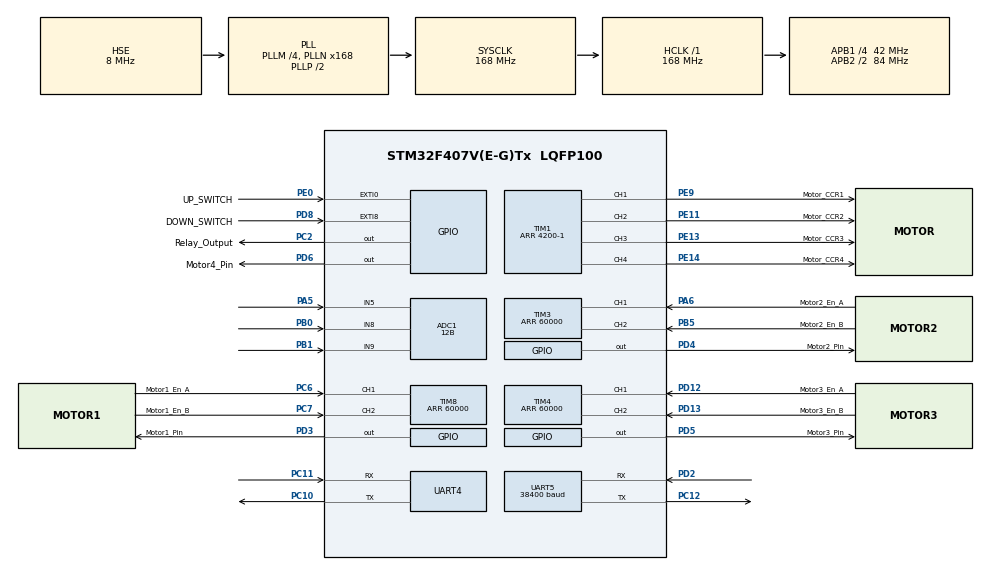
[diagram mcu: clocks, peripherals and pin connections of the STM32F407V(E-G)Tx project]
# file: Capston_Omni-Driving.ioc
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ADC1.Channel-53\#ChannelRegularConversion=ADC_CHANNEL_5
ADC1.Channel-54\#ChannelRegularConversion=ADC_CHANNEL_8
ADC1.Channel-55\#ChannelRegularConversion=ADC_CHANNEL_9
ADC1.ClockPrescaler=ADC_CLOCK_SYNC_PCLK_DIV4
ADC1.ContinuousConvMode=ENABLE
ADC1.DMAContinuousRequests=ENABLE
ADC1.DataAlign=ADC_DATAALIGN_RIGHT
ADC1.DiscontinuousConvMode=DISABLE
ADC1.EOCSelection=ADC_EOC_SEQ_CONV
ADC1.EnableAnalogWatchDog=false
ADC1.ExternalTrigConv=ADC_SOFTWARE_START
ADC1.ExternalTrigConvEdge=ADC_EXTERNALTRIGCONVEDGE_NONE
ADC1.InjNumberOfConversion=0
ADC1.NbrOfConversion=3
ADC1.NbrOfConversionFlag=1
ADC1.Rank-53\#ChannelRegularConversion=1
ADC1.Rank-54\#ChannelRegularConversion=2
ADC1.Rank-55\#ChannelRegularConversion=3
ADC1.Resolution=ADC_RESOLUTION_12B
ADC1.SamplingTime-53\#ChannelRegularConversion=ADC_SAMPLETIME_480CYCLES
ADC1.SamplingTime-54\#ChannelRegularConversion=ADC_SAMPLETIME_480CYCLES
ADC1.SamplingTime-55\#ChannelRegularConversion=ADC_SAMPLETIME_480CYCLES
ADC1.ScanConvMode=ENABLE
ADC1.master=1
Dma.ADC1.2.Direction=DMA_PERIPH_TO_MEMORY
Dma.ADC1.2.FIFOMode=DMA_FIFOMODE_DISABLE
Dma.ADC1.2.Instance=DMA2_Stream0
Dma.ADC1.2.MemDataAlignment=DMA_MDATAALIGN_WORD
Dma.ADC1.2.MemInc=DMA_MINC_ENABLE
Dma.ADC1.2.Mode=DMA_CIRCULAR
Dma.ADC1.2.PeriphDataAlignment=DMA_PDATAALIGN_WORD
Dma.ADC1.2.PeriphInc=DMA_PINC_DISABLE
Dma.ADC1.2.Priority=DMA_PRIORITY_LOW
Dma.Request0=UART5_RX
Dma.Request1=UART4_RX
Dma.Request2=ADC1
Dma.UART4_RX.1.Direction=DMA_PERIPH_TO_MEMORY
Dma.UART4_RX.1.FIFOMode=DMA_FIFOMODE_DISABLE
Dma.UART4_RX.1.Instance=DMA1_Stream2
Dma.UART4_RX.1.MemDataAlignment=DMA_MDATAALIGN_BYTE
Dma.UART4_RX.1.MemInc=DMA_MINC_ENABLE
Dma.UART4_RX.1.Mode=DMA_NORMAL
Dma.UART4_RX.1.PeriphDataAlignment=DMA_PDATAALIGN_BYTE
Dma.UART4_RX.1.PeriphInc=DMA_PINC_DISABLE
Dma.UART4_RX.1.Priority=DMA_PRIORITY_LOW
Dma.UART5_RX.0.Direction=DMA_PERIPH_TO_MEMORY
Dma.UART5_RX.0.FIFOMode=DMA_FIFOMODE_DISABLE
Dma.UART5_RX.0.Instance=DMA1_Stream0
Dma.UART5_RX.0.MemDataAlignment=DMA_MDATAALIGN_BYTE
Dma.UART5_RX.0.MemInc=DMA_MINC_ENABLE
Dma.UART5_RX.0.Mode=DMA_CIRCULAR
Dma.UART5_RX.0.PeriphDataAlignment=DMA_PDATAALIGN_BYTE
Dma.UART5_RX.0.PeriphInc=DMA_PINC_DISABLE
Dma.UART5_RX.0.Priority=DMA_PRIORITY_LOW
Mcu.Family=STM32F4
Mcu.Name=STM32F407V(E-G)Tx
Mcu.Package=LQFP100
NVIC.DMA1_Stream0_IRQn=true\:0\:0\:false\:false\:true\:false
NVIC.DMA1_Stream2_IRQn=true\:0\:0\:false\:false\:true\:false
NVIC.DMA2_Stream0_IRQn=true\:0\:0\:false\:false\:true\:false
NVIC.EXTI0_IRQn=true\:0\:0\:false\:false\:true\:true
NVIC.EXTI9_5_IRQn=true\:0\:0\:false\:false\:true\:true
NVIC.PriorityGroup=NVIC_PRIORITYGROUP_4
NVIC.TIM7_IRQn=true\:0\:0\:false\:false\:true\:true
PA13.Mode=JTAG_5_pins
PA13.Signal=SYS_JTMS-SWDIO
PA14.Mode=JTAG_5_pins
PA14.Signal=SYS_JTCK-SWCLK
PA15.Mode=JTAG_5_pins
PA15.Signal=SYS_JTDI
PA5.Signal=ADCx_IN5
PA6.GPIO_Label=Motor2_En_A
PA6.Signal=S_TIM3_CH1
PB0.Signal=ADCx_IN8
PB1.Signal=ADCx_IN9
PB3.Mode=JTAG_5_pins
PB3.Signal=SYS_JTDO-SWO
PB4.Mode=JTAG_5_pins
PB4.Signal=SYS_JTRST
PB5.GPIO_Label=Motor2_En_B
PB5.Signal=S_TIM3_CH2
PC10.Mode=Asynchronous
PC10.Signal=UART4_TX
PC11.Mode=Asynchronous
PC11.Signal=UART4_RX
PC12.Mode=Asynchronous
PC12.Signal=UART5_TX
PC2.GPIO_Label=Relay_Output
PC2.Signal=GPIO_Output
PC6.GPIO_Label=Motor1_En_A
PC6.Signal=S_TIM8_CH1
PC7.GPIO_Label=Motor1_En_B
PC7.Signal=S_TIM8_CH2
PD12.GPIO_Label=Motor3_En_A
PD12.Signal=S_TIM4_CH1
PD13.GPIO_Label=Motor3_En_B
PD13.Signal=S_TIM4_CH2
PD2.Mode=Asynchronous
PD2.Signal=UART5_RX
PD3.GPIO_Label=Motor1_Pin
PD3.Signal=GPIO_Output
PD4.GPIO_Label=Motor2_Pin
PD4.Signal=GPIO_Output
PD5.GPIO_Label=Motor3_Pin
PD5.Signal=GPIO_Output
PD6.GPIO_Label=Motor4_Pin
PD6.Signal=GPIO_Output
PD8.GPIO_Label=DOWN_SWITCH
PD8.GPIO_ModeDefaultEXTI=GPIO_MODE_IT_RISING_FALLING
PD8.Signal=GPXTI8
PE0.GPIO_Label=UP_SWITCH
PE0.GPIO_ModeDefaultEXTI=GPIO_MODE_IT_FALLING
PE0.Signal=GPXTI0
PE11.GPIO_Label=Motor_CCR2
PE11.Signal=S_TIM1_CH2
PE13.GPIO_Label=Motor_CCR3
PE13.Signal=S_TIM1_CH3
PE14.GPIO_Label=Motor_CCR4
PE14.Signal=S_TIM1_CH4
PE9.GPIO_Label=Motor_CCR1
PE9.Signal=S_TIM1_CH1
PH0-OSC_IN.Mode=HSE-External-Oscillator
PH0-OSC_IN.Signal=RCC_OSC_IN
PH1-OSC_OUT.Mode=HSE-External-Oscillator
PH1-OSC_OUT.Signal=RCC_OSC_OUT
ProjectManager.HeapSize=0x200
ProjectManager.StackSize=0x400
ProjectManager.TargetToolchain=EWARM
RCC.48MHZClocksFreq_Value=84000000
RCC.AHBFreq_Value=168000000
RCC.APB1CLKDivider=RCC_HCLK_DIV4
RCC.APB1Freq_Value=42000000
RCC.APB1TimFreq_Value=84000000
RCC.APB2CLKDivider=RCC_HCLK_DIV2
RCC.APB2Freq_Value=84000000
RCC.APB2TimFreq_Value=168000000
RCC.CortexFreq_Value=168000000
RCC.HCLKFreq_Value=168000000
RCC.HSE_VALUE=8000000
RCC.HSI_VALUE=16000000
RCC.LSE_VALUE=32768
RCC.PLLM=4
RCC.PLLN=168
RCC.PLLSourceVirtual=RCC_PLLSOURCE_HSE
RCC.SYSCLKFreq_VALUE=168000000
RCC.SYSCLKSource=RCC_SYSCLKSOURCE_PLLCLK
RCC.VCOOutputFreq_Value=336000000
SH.ADCx_IN5.0=ADC1_IN5,IN5
SH.ADCx_IN8.0=ADC1_IN8,IN8
SH.ADCx_IN9.0=ADC1_IN9,IN9
SH.S_TIM1_CH1.0=TIM1_CH1,PWM Generation1 CH1
SH.S_TIM1_CH2.0=TIM1_CH2,PWM Generation2 CH2
SH.S_TIM1_CH3.0=TIM1_CH3,PWM Generation3 CH3
SH.S_TIM1_CH4.0=TIM1_CH4,PWM Generation4 CH4
SH.S_TIM3_CH1.0=TIM3_CH1,Encoder_Interface
SH.S_TIM3_CH2.0=TIM3_CH2,Encoder_Interface
SH.S_TIM4_CH1.0=TIM4_CH1,Encoder_Interface
SH.S_TIM4_CH2.0=TIM4_CH2,Encoder_Interface
SH.S_TIM8_CH1.0=TIM8_CH1,Encoder_Interface
SH.S_TIM8_CH2.0=TIM8_CH2,Encoder_Interface
TIM1.Channel-PWM\ Generation1\ CH1=TIM_CHANNEL_1
TIM1.Channel-PWM\ Generation2\ CH2=TIM_CHANNEL_2
TIM1.Channel-PWM\ Generation3\ CH3=TIM_CHANNEL_3
TIM1.Channel-PWM\ Generation4\ CH4=TIM_CHANNEL_4
TIM1.Period=4200-1
TIM1.Pulse-PWM\ Generation1\ CH1=1
TIM1.Pulse-PWM\ Generation2\ CH2=2
TIM1.Pulse-PWM\ Generation3\ CH3=3
TIM1.Pulse-PWM\ Generation4\ CH4=4
TIM3.EncoderMode=TIM_ENCODERMODE_TI12
TIM3.Period=60000
TIM4.EncoderMode=TIM_ENCODERMODE_TI12
TIM4.Period=60000
TIM7.Period=50 - 1
TIM7.Prescaler=840 - 1
TIM8.EncoderMode=TIM_ENCODERMODE_TI12
TIM8.Period=60000
UART4.VirtualMode=Asynchronous
UART5.BaudRate=38400
UART5.VirtualMode=Asynchronous
VP_TIM7_VS_ClockSourceINT.Mode=Enable_Timer
board=Capston_Omni-Driving

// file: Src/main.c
/**
  ******************************************************************************
  * @file           : main.c
  * @brief          : Main program body
  ******************************************************************************
  ** This notice applies to any and all portions of this file
  * that are not between comment pairs USER CODE BEGIN and
  * USER CODE END. Other portions of this file, whether
  * inserted by the user or by software development tools
  * are owned by their respective copyright owners.
  *
  * COPYRIGHT(c) 2021 STMicroelectronics
  *
  * Redistribution and use in source and binary forms, with or without modification,
  * are permitted provided that the following conditions are met:
  *   1. Redistributions of source code must retain the above copyright notice,
  *      this list of conditions and the following disclaimer.
  *   2. Redistributions in binary form must reproduce the above copyright notice,
  *      this list of conditions and the following disclaimer in the documentation
  *      and/or other materials provided with the distribution.
  *   3. Neither the name of STMicroelectronics nor the names of its contributors
  *      may be used to endorse or promote products derived from this software
  *      without specific prior written permission.
  *
  * THIS SOFTWARE IS PROVIDED BY THE COPYRIGHT HOLDERS AND CONTRIBUTORS "AS IS"
  * AND ANY EXPRESS OR IMPLIED WARRANTIES, INCLUDING, BUT NOT LIMITED TO, THE
  * IMPLIED WARRANTIES OF MERCHANTABILITY AND FITNESS FOR A PARTICULAR PURPOSE ARE
  * DISCLAIMED. IN NO EVENT SHALL THE COPYRIGHT HOLDER OR CONTRIBUTORS BE LIABLE
  * FOR ANY DIRECT, INDIRECT, INCIDENTAL, SPECIAL, EXEMPLARY, OR CONSEQUENTIAL
  * DAMAGES (INCLUDING, BUT NOT LIMITED TO, PROCUREMENT OF SUBSTITUTE GOODS OR
  * SERVICES; LOSS OF USE, DATA, OR PROFITS; OR BUSINESS INTERRUPTION) HOWEVER
  * CAUSED AND ON ANY THEORY OF LIABILITY, WHETHER IN CONTRACT, STRICT LIABILITY,
  * OR TORT (INCLUDING NEGLIGENCE OR OTHERWISE) ARISING IN ANY WAY OUT OF THE USE
  * OF THIS SOFTWARE, EVEN IF ADVISED OF THE POSSIBILITY OF SUCH DAMAGE.
  *
  ******************************************************************************
  */
#include "main.h"
#include "stm32f4xx_hal.h"

/* USER CODE BEGIN Includes */
#include "stdbool.h"
#include "arm_math.h"
/* USER CODE END Includes */

ADC_HandleTypeDef hadc1;
DMA_HandleTypeDef hdma_adc1;

TIM_HandleTypeDef htim1;
TIM_HandleTypeDef htim3;
TIM_HandleTypeDef htim4;
TIM_HandleTypeDef htim7;
TIM_HandleTypeDef htim8;

UART_HandleTypeDef huart4;
UART_HandleTypeDef huart5;
DMA_HandleTypeDef hdma_uart4_rx;
DMA_HandleTypeDef hdma_uart5_rx;

/* USER CODE BEGIN PV */
/* Private variables ---------------------------------------------------------*/
// 일단 메트릭스 연산 제거하기!!!!
// ##################### Define #####################
//#define ARM_MATH_CM4
#define RX_BUF_SIZE             256
#define TX_BUF_SIZE             15

#define PULSE                       1404
#define PULSE_PER_RAD       0.0045

#define MAF_SIZE 10

// ##################### Basic Setup #####################
float32_t a2 = 2*PI/3, a3 = 4*PI/3; // angle gap between wheels
float32_t R = 0.400 , r = 0.0635;
float32_t theta = 0;

// ##################### Robot Parameter #####################
double La = 0.0023, Ra = 11.0, Ea = 0.1, J = 0.0043, B_m = 0.0019;
double Kt = 0.4307, Ke = 0.4307;

// ##################### Timer #####################
int cnt = 0, cnt2 = 0;

// ##################### Serial Comm #####################
uint8_t rx_dma_buffer[RX_BUF_SIZE];
uint8_t rx_buf[12];
//HAL_StatusTypeDef DMA_;
bool flag = false;

uint8_t tx_buf[TX_BUF_SIZE] = {0x00, 0x01, 0x02, 0x03, 0x04, 0x05, 0x06, 0x07, 0x08, 0x09, 0x0a, 0x0b, 0x0c, 0x0d, 0x0e};
uint8_t tx_buf_[TX_BUF_SIZE] = {0x00, 0x00, 0x00, 0x00, 0x00, 0x00, 0x00, 0x00, 0x00, 0x00, 0x00, 0x00, 0x00, 0x00, 0x00};

volatile unsigned char head_pos;
volatile unsigned char tail_pos = 255;
volatile unsigned char PacketMode;
volatile unsigned char checkSize;
uint8_t checkSum;

uint32_t Go_cnt = 0, Back_cnt = 0, Stop_cnt = 0;

// ##################### IMU  #####################
uint8_t imu_rx_buf[16];
uint8_t imu_tx_buf[1] = {'*'};
uint16_t imu_Chk = 0, Chk = 0;

volatile double Roll_d, Pitch_d, Yaw_d;
int16_t Roll, Pitch, Yaw, vel_x, vel_y, vel_z;

// ##################### Motor Setup #####################
uint16_t Motor_CCR[4], CCR_pre[4];
int32_t En_cnt_cur[3],  En_cnt_pre[3], En_cnt_dif[3];
double w[3];
double dt = 0.005;

//##################### PI Speed Controller Setup  #####################
int16_t overflow = 0;

double target_[3] = {0.0, 0.0, 0.0};
double err_cur[3] = {0, 0, 0}, err_pre[3] = {0, 0, 0}, err_dif[3] = {0, 0, 0}, err_sum[3] = {0, 0, 0} ;

// Matlab Params
uint16_t Wcs = 2000;
//double Kps = 19.9675, Kis = 0.0441; //Kis = 4.4114  * dt(0.005)                               //Kps = (J*Wcs)/Kt, Kis = Kps*(B_m/J)
double Kps[3] = {20.0, 20.0, 20.0}, Kis[3] = {0.0002, 0.0002, 0.0002}; //Kis = 0.00005

int16_t j_target_[3], j_w_[3], direc[3] = {1, 1, 1}; // j = jscope

//##################### Limit Switch Setup #####################
bool up_exti_flag = true, down_exti_flag = false;
uint16_t Elevation_mode = 0, Elevation_mode_ = 0;                                             // 0 : Stop, 1 : Up , 2 : Down
int16_t Elevation_CCR;

uint16_t up_exti_cnt = 0, down_exti_cnt = 0;
uint16_t ele_direc = 0;

uint32_t elevation_cnt = 0, Rise_cnt = 0, Fall_cnt = 0 ;
bool Rise_bool = false, Fall_bool = false;

int ele_motor_dir_check=0;

//##################### PI Current Cointroll#####################
uint32_t Current_ADC[3] = {0,0,0};
uint16_t Wcc = 200;

double Voltage_to_Current[3] = {0.0, };
int Current_ADC_Jscope1;
int Current_ADC_Jscope2;
int Current_ADC_Jscope3;

//double Kpc = 0.4660, Kic = 1.1, Ka = 1.4306; //Kic = Ki * dt(0.0005)
// Kpc[3] = {0.22 , 0.22, 0.22}, Kic[3] = {0.02, 0.02, 0.02}, Ka = 1.4306; //Kic = 0.001 //2차 : Kpc = 0.3 Kic = 0.02
double Kpc[3] = {0.01 , 0.22, 0.3}, Kic[3] = {0.105, 0.02, 0.15}, Ka = 1.4306;
double I_ref[3] = {0.0, 0.0, 0.0};
double I_err_cur[3] = {0.0, }, I_err_pre[3] = {0.0, }, I_err_sum[3] = {0.0, }, I_err_a[3]= {0.0, };
double Motor_volt[3] = {0.0, }, Motor_volt_cur[3] = {0.0, };
double Volt_max = 12.0, Volt_min = -12.0, I_min = -2.5, I_max = 2.5;

//##################### MAF #####################

int rawData[3][MAF_SIZE] = {0, };
double SUM_Data[3] = {0.0, };
double MAF_Data[3] = {0.0, };
int MAF_cnt[3] = {0, };

/* USER CODE END PV */

void SystemClock_Config(void);
static void MX_GPIO_Init(void);
static void MX_DMA_Init(void);
static void MX_TIM3_Init(void);
static void MX_TIM4_Init(void);
static void MX_TIM7_Init(void);
static void MX_TIM1_Init(void);
static void MX_UART5_Init(void);
static void MX_UART4_Init(void);
static void MX_TIM8_Init(void);
static void MX_ADC1_Init(void);

void HAL_TIM_MspPostInit(TIM_HandleTypeDef *htim);

/* USER CODE BEGIN PFP */
/* Private function prototypes -----------------------------------------------*/

void Uart_rx_dma_handler();
void IMU_Parsing();
double CalcMAF(int data, int n);

void Jscope_Callback();
void Get_Motor_Speed();
void SpeedCtrl();
void CurrentCtrl();
void Motor_ON();

void Elevation();
void Elevation_Cnt();

void up_elevation();
void down_elevation();
void stop_elevation();

void Elevation_Mode(uint16_t mode);
void Go_Straight_Test();

/* USER CODE END PFP */

/* USER CODE BEGIN 0 */

/* ############# Todo List #############
 *
 *
 */

/* ############ Motor Control ############
 *
 * CCR1 ~ 3        : Three whelel  controlling Mootr_CCR of Omni direction robot
 * CCR4              : The Motor_CCR of elevation
 * En_cnt1 ~ 3     : The Encoder Sensor Count of Motor 1 ~ 3
 *
 * Encoder Diff(OverFlow)
 *              It must be Positive Value
 *              if Encoder Count Overflow, Minus 60000 and Multiply -1.
 *
 */

/* ############ Motor Control ############
 *
 *      Currnet Control(PI) : 0.5ms(2000Hz)
 *      Speed Control(PI)   : 5ms(200Hz)
 *
 */

/* ############ Timer OverFLow ############
 *
 *      OverFlow                                 : 0.5ms(2000Hz)
 *      10-count Timer OverFLow         : 5ms(200Hz)
 *
 */

void HAL_TIM_PeriodElapsedCallback(TIM_HandleTypeDef *htim){
  if(htim == &htim7){                   //2000Hz(0.5ms)
    cnt++;

    Uart_rx_dma_handler();

    Get_Motor_Speed();

    //PI Currrent Controll
    CurrentCtrl();

    if(cnt == 10){                         //200Hz(5ms)
      cnt = 0;

      Elevation_Mode(Elevation_mode);
      Elevation_Cnt();

      // PI Speed Controll(With Anti-Windup)
      SpeedCtrl();

    }

    // Motor Direc & CCR To Move
    Motor_ON();

    // For Data Visualization With Jscope
    Jscope_Callback();
  }
}

// ########## EXTI Callback For Limit Swtich ##########

void HAL_GPIO_EXTI_Callback(uint16_t GPIO_Pin){

  if(GPIO_Pin == GPIO_PIN_0){
    up_exti_flag = false;
    down_exti_flag = true;

    HAL_GPIO_WritePin(GPIOC, GPIO_PIN_2, GPIO_PIN_SET);
    up_exti_cnt++;

  }

  else if(GPIO_Pin == GPIO_PIN_8){
    down_exti_flag = false;
    down_exti_cnt++;

    HAL_GPIO_WritePin(GPIOC, GPIO_PIN_2, GPIO_PIN_RESET);

  }

}

/* ###################################
 * UART Communication Protocol ( 10 Bit ( Hex data ) )
 *
 * Start Bit                      : 0xFF                     >>  0, 1

 * Sign Bit                                                    >>  2, 4, 6
                                        + : 0x01
                                        - : 0x00

 * Data Bit                     : One Bit                  >>  3, 5, 7

 * Elevation Mode bit      : One Bit                  >>  8
                                        0 : Stop
                                        1 : Up
                                        2 : Down

 * End Bit                      : CheckSum[2 ~ 8]  >>  9

 * CCR = RAD_PER_PULSE
 * ###################################
 */

void Uart_rx_dma_handler(){
  head_pos = huart5.RxXferSize - huart5.hdmarx->Instance->NDTR -1;
  while(tail_pos != head_pos) {
    switch (PacketMode) {
      case 0:

        if (rx_dma_buffer[tail_pos] == 0xFF) {         //Header check
          rx_buf[checkSize++] = rx_dma_buffer[tail_pos];
          if(checkSize == 2){
            PacketMode = 1;
          }
        }
        else{
          checkSize = 0;
        }
        break;

    case 1:

      rx_buf[checkSize++] = rx_dma_buffer[tail_pos];

      if(checkSize == 10){

        for(int i = 2 ; i < 9 ; i++)
          checkSum += rx_buf[i];

        if(rx_buf[9] == checkSum){

          // Go forward : 1
          if(rx_buf[8] == 1)
              Elevation_mode = (uint16_t)rx_buf[8];
          else{
            direc[0] = rx_buf[2];
            direc[1] = rx_buf[4];
            direc[2] = rx_buf[6];

            target_[0] = (double)rx_buf[3] / 10.0;
            target_[1] = (double)rx_buf[5] / 10.0;
            target_[2] = (double)rx_buf[7] / 10.0;
          }

          flag = true;
        }

        else{
          flag = false;

          target_[0] = 0.0;
          target_[1] = 0.0;
          target_[2] = 0.0;

          Elevation_mode = 0;
        }

        checkSum =  0;
        checkSize = 0;
        PacketMode = 0;
      }

      else if(checkSize > 9){
        checkSum =  0;
        checkSize = 0;
        PacketMode = 0;
      }

    }

    tail_pos++;
  }
}

double CalcMAF(int data, int n){
  MAF_cnt[n] = (MAF_cnt[n] + 1)%MAF_SIZE;
  rawData[n][MAF_cnt[n]] = data;
  SUM_Data[n] = 0;

  for(int i = 0; i < MAF_SIZE; i++){
    SUM_Data[n] += rawData[n][i];
   }

  MAF_Data[n] = SUM_Data[n]/MAF_SIZE;

  return MAF_Data[n];
}

void Get_Motor_Speed(){

  // Encoder Pulse of  Each Motors
  En_cnt_cur[0] = TIM8 -> CNT;
  En_cnt_cur[1] = TIM3 -> CNT;
  En_cnt_cur[2] = TIM4 -> CNT;

  for(int j = 0 ; j < 3 ; j++){

    // Encoder Pulse count for Positive Value
    if(direc[j] == 1){
      En_cnt_dif[j] =     ( En_cnt_cur[j] - En_cnt_pre[j] );
    }
    else{
      En_cnt_dif[j] =  - ( En_cnt_cur[j] - En_cnt_pre[j] );
    }

    // Encoder OverFlow
    if(En_cnt_dif[j] > 50000){
      En_cnt_dif[j] = - ( En_cnt_dif[j] - 60000 );
    }

    // Motor Speed(w) for Each Motors
    w[j] = ( En_cnt_dif[j] * 0.0748);

    // Keep Encoder ount for calculate speed
    En_cnt_pre[j] = En_cnt_cur[j];
  }

}

void Motor_ON(){
  if(direc[0] == 1){
     HAL_GPIO_WritePin(GPIOD, GPIO_PIN_3, GPIO_PIN_RESET);
  }
  else if(direc[0] == 0){
    HAL_GPIO_WritePin(GPIOD, GPIO_PIN_3, GPIO_PIN_SET);
  }

  if(direc[1] == 1){
    HAL_GPIO_WritePin(GPIOD, GPIO_PIN_4, GPIO_PIN_RESET);
  }
  else if(direc[1] == 0){
    HAL_GPIO_WritePin(GPIOD, GPIO_PIN_4, GPIO_PIN_SET);
  }

  if(direc[2] == 1){
    HAL_GPIO_WritePin(GPIOD, GPIO_PIN_5, GPIO_PIN_RESET);
  }
  else if(direc[2] == 0){
    HAL_GPIO_WritePin(GPIOD, GPIO_PIN_5, GPIO_PIN_SET);
  }

  for(int i = 0 ; i < 3 ; i++){

    if(target_[i] == 0){
      Motor_CCR[i] = 0;
      I_err_sum[i] = 0;
    }

  }
  TIM1 -> CCR1 = Motor_CCR[0];
  TIM1 -> CCR2 = Motor_CCR[1];
  TIM1 -> CCR3 = Motor_CCR[2];
}
/*
 * Direc : 1 = Current ++
 * Direc : 0 = Current --
 *
 */
void CurrentCtrl(){

  for(int i = 0 ; i < 3 ; i++){
    // Get Current Value By ADC
    Voltage_to_Current[i] =   -(( CalcMAF(Current_ADC[i], i )/ 4096. ) * 3.3 - 2.46 ) * 10.0;

    // Calculate Current Error for PI Controll
    I_err_cur[i]    = I_ref[i] - Voltage_to_Current[i];
    I_err_sum[i] += I_err_cur[i];

    // PI Controll for Motor Voltage(With AntiWindup)
    Motor_volt[i] = (Kpc[i] * I_err_cur[i]) + (Kic[i] * I_err_sum[i]);

    // Anti Windup
    //##############################################

    if(Motor_volt[i] > Volt_max){
      I_err_sum[i] -= ( Motor_volt[i] - Volt_max ) / Kpc[i] / 3.0;
      Motor_volt[i] = Volt_max;
    }

    //##############################################
    //##############################################

    else if(Motor_volt[i] < Volt_min){
      I_err_sum[i] -= ( Motor_volt[i] - Volt_min) / Kpc[i] / 3.0;
      Motor_volt[i] = Volt_min;
    }

    //##############################################
    //##############################################

    Motor_CCR[i] = (Motor_volt[i] / 12.0) * 2100.0 + 2100.0;
  }

}

void SpeedCtrl(){

  //Get_Motor_Speed();

  for(int i = 0 ; i < 3 ; i++){
    err_cur[i]     = target_[i] - w[i];
    err_sum[i]  += err_cur[i];

    I_ref[i] = (Kps[i] * err_cur[i]) + (Kis[i] * err_sum[i]);

    if(I_ref[i] > I_max){
      err_sum[i] -= ( I_ref[i] - I_max ) / Kps[i] / 3.0;
      I_ref[i] = I_max;
    }

    else if(I_ref[i] < I_min){
      err_sum[i] -= ( I_ref[i] - I_min) / Kps[i] / 3.0;
      I_ref[i] = I_min;
    }

  }
}

void Jscope_Callback(){
  for(int i = 0 ; i < 3 ; i++){
    j_target_[i] = target_[i] * 100;
    j_w_[i] = w[i] * 100;
  }
}

void up_elevation(){
  HAL_GPIO_WritePin(GPIOD, GPIO_PIN_6, GPIO_PIN_SET);
  TIM1 -> CCR4 = 3000;
  Elevation_CCR = 3000;
  ele_motor_dir_check=1;
  // CCW
}
void down_elevation(){
  HAL_GPIO_WritePin(GPIOD, GPIO_PIN_6, GPIO_PIN_RESET);
  TIM1 -> CCR4 = 3000;
  ele_motor_dir_check=0;
  Elevation_CCR = -4200;
  // CW
}
void stop_elevation(){
  HAL_GPIO_WritePin(GPIOD, GPIO_PIN_6, GPIO_PIN_RESET);
  TIM1 -> CCR4 = 0;
  Elevation_CCR = 0;
}

void Elevation(){
  if(Elevation_mode == 1 && up_exti_flag){
    up_elevation();
  }
  else  if(Elevation_mode_ == 2 && down_exti_flag){
    down_elevation();
  }
  else{
    stop_elevation();
  }
}
void Elevation_Cnt(){
  if(down_exti_flag){
    elevation_cnt++;
    if(elevation_cnt == 4000){
      Elevation_mode_ = 2;
    }
  }
}

void Elevation_Mode(uint16_t mode){
  if(mode == 1){
    Go_cnt++;
    if(Go_cnt >= 1400){
      Stop_cnt++;
      target_[0] = target_[1] = target_[2] = 0;
      Elevation();

      if(Elevation_mode_ == 2 && !down_exti_flag){
        Back_cnt++;

        if(Back_cnt >= 1400){
          target_[0] = target_[1] = target_[2] = 0;
        }

        else{
          target_[0] = 4.7;
          target_[2] = 4.0;
          direc[0] = 1;
          direc[2] = 0;
        }

      }

    }
    else{
      target_[0] = 4.0;
      target_[2] = 4.9;
      direc[0] = 0;
      direc[2] = 1;
    }
  }
}

void Go_Straight_Test(){
  Go_cnt++;
  if(Go_cnt >= 2000){
    Stop_cnt++;

    if(Stop_cnt >= 1000){
      Back_cnt++;

      if(Back_cnt >= 2000){
        target_[0] = target_[1] = target_[2] = 0;
      }

      else{
        target_[0] = target_[2] = 4.0;
        direc[0] = 1;
        direc[2] = 0;
      }

    }

    else{
      target_[0] = target_[1] = target_[2] = 0;
    }

  }
  else{
    target_[0] = target_[2] = 4.0;
    direc[0] = 0;
    direc[2] = 1;
  }
}

/* USER CODE END 0 */

int main(void)
{

  /* MCU Configuration----------------------------------------------------------*/

  /* Reset of all peripherals, Initializes the Flash interface and the Systick. */
  HAL_Init();

  /* Configure the system clock */
  SystemClock_Config();

  /* Initialize all configured peripherals */
  MX_GPIO_Init();
  MX_DMA_Init();
  MX_TIM3_Init();
  MX_TIM4_Init();
  MX_TIM7_Init();
  MX_TIM1_Init();
  MX_UART5_Init();
  MX_UART4_Init();
  MX_TIM8_Init();
  MX_ADC1_Init();
  /* USER CODE BEGIN 2 */

  HAL_TIM_Base_Start_IT(&htim7);

  HAL_UART_Receive_DMA(&huart5, rx_dma_buffer, RX_BUF_SIZE);

  HAL_TIM_PWM_Start(&htim1, TIM_CHANNEL_1);
  HAL_TIM_PWM_Start(&htim1, TIM_CHANNEL_2);
  HAL_TIM_PWM_Start(&htim1, TIM_CHANNEL_3);
  HAL_TIM_PWM_Start(&htim1, TIM_CHANNEL_4);

  HAL_TIMEx_PWMN_Start(&htim1, TIM_CHANNEL_1);
  HAL_TIMEx_PWMN_Start(&htim1, TIM_CHANNEL_2);
  HAL_TIMEx_PWMN_Start(&htim1, TIM_CHANNEL_3);
  HAL_TIMEx_PWMN_Start(&htim1, TIM_CHANNEL_4);

  HAL_TIM_Encoder_Start(&htim3, TIM_CHANNEL_ALL);
  HAL_TIM_Encoder_Start(&htim4, TIM_CHANNEL_ALL);
  HAL_TIM_Encoder_Start(&htim8, TIM_CHANNEL_ALL);

  HAL_ADC_Start_DMA(&hadc1, Current_ADC, 3);

  HAL_GPIO_WritePin(GPIOC, GPIO_PIN_2, GPIO_PIN_RESET);

  /* USER CODE END 2 */

  /* Infinite loop */
  while (1)
  {

  }

}

void SystemClock_Config(void)
{

  RCC_OscInitTypeDef RCC_OscInitStruct;
  RCC_ClkInitTypeDef RCC_ClkInitStruct;

    /**Configure the main internal regulator output voltage
    */
  __HAL_RCC_PWR_CLK_ENABLE();

  __HAL_PWR_VOLTAGESCALING_CONFIG(PWR_REGULATOR_VOLTAGE_SCALE1);

    /**Initializes the CPU, AHB and APB busses clocks
    */
  RCC_OscInitStruct.OscillatorType = RCC_OSCILLATORTYPE_HSE;
  RCC_OscInitStruct.HSEState = RCC_HSE_ON;
  RCC_OscInitStruct.PLL.PLLState = RCC_PLL_ON;
  RCC_OscInitStruct.PLL.PLLSource = RCC_PLLSOURCE_HSE;
  RCC_OscInitStruct.PLL.PLLM = 4;
  RCC_OscInitStruct.PLL.PLLN = 168;
  RCC_OscInitStruct.PLL.PLLP = RCC_PLLP_DIV2;
  RCC_OscInitStruct.PLL.PLLQ = 4;
  if (HAL_RCC_OscConfig(&RCC_OscInitStruct) != HAL_OK)
  {
    _Error_Handler(__FILE__, __LINE__);
  }

    /**Initializes the CPU, AHB and APB busses clocks
    */
  RCC_ClkInitStruct.ClockType = RCC_CLOCKTYPE_HCLK|RCC_CLOCKTYPE_SYSCLK
                              |RCC_CLOCKTYPE_PCLK1|RCC_CLOCKTYPE_PCLK2;
  RCC_ClkInitStruct.SYSCLKSource = RCC_SYSCLKSOURCE_PLLCLK;
  RCC_ClkInitStruct.AHBCLKDivider = RCC_SYSCLK_DIV1;
  RCC_ClkInitStruct.APB1CLKDivider = RCC_HCLK_DIV4;
  RCC_ClkInitStruct.APB2CLKDivider = RCC_HCLK_DIV2;

  if (HAL_RCC_ClockConfig(&RCC_ClkInitStruct, FLASH_LATENCY_5) != HAL_OK)
  {
    _Error_Handler(__FILE__, __LINE__);
  }

    /**Configure the Systick interrupt time
    */
  HAL_SYSTICK_Config(HAL_RCC_GetHCLKFreq()/1000);

    /**Configure the Systick
    */
  HAL_SYSTICK_CLKSourceConfig(SYSTICK_CLKSOURCE_HCLK);

  /* SysTick_IRQn interrupt configuration */
  HAL_NVIC_SetPriority(SysTick_IRQn, 0, 0);
}

/* ADC1 init function */
static void MX_ADC1_Init(void)
{

  ADC_ChannelConfTypeDef sConfig;

    /**Configure the global features of the ADC (Clock, Resolution, Data Alignment and number of conversion)
    */
  hadc1.Instance = ADC1;
  hadc1.Init.ClockPrescaler = ADC_CLOCK_SYNC_PCLK_DIV4;
  hadc1.Init.Resolution = ADC_RESOLUTION_12B;
  hadc1.Init.ScanConvMode = ENABLE;
  hadc1.Init.ContinuousConvMode = ENABLE;
  hadc1.Init.DiscontinuousConvMode = DISABLE;
  hadc1.Init.ExternalTrigConvEdge = ADC_EXTERNALTRIGCONVEDGE_NONE;
  hadc1.Init.ExternalTrigConv = ADC_SOFTWARE_START;
  hadc1.Init.DataAlign = ADC_DATAALIGN_RIGHT;
  hadc1.Init.NbrOfConversion = 3;
  hadc1.Init.DMAContinuousRequests = ENABLE;
  hadc1.Init.EOCSelection = ADC_EOC_SEQ_CONV;
  if (HAL_ADC_Init(&hadc1) != HAL_OK)
  {
    _Error_Handler(__FILE__, __LINE__);
  }

    /**Configure for the selected ADC regular channel its corresponding rank in the sequencer and its sample time.
    */
  sConfig.Channel = ADC_CHANNEL_5;
  sConfig.Rank = 1;
  sConfig.SamplingTime = ADC_SAMPLETIME_480CYCLES;
  if (HAL_ADC_ConfigChannel(&hadc1, &sConfig) != HAL_OK)
  {
    _Error_Handler(__FILE__, __LINE__);
  }

    /**Configure for the selected ADC regular channel its corresponding rank in the sequencer and its sample time.
    */
  sConfig.Channel = ADC_CHANNEL_8;
  sConfig.Rank = 2;
  if (HAL_ADC_ConfigChannel(&hadc1, &sConfig) != HAL_OK)
  {
    _Error_Handler(__FILE__, __LINE__);
  }

    /**Configure for the selected ADC regular channel its corresponding rank in the sequencer and its sample time.
    */
  sConfig.Channel = ADC_CHANNEL_9;
  sConfig.Rank = 3;
  if (HAL_ADC_ConfigChannel(&hadc1, &sConfig) != HAL_OK)
  {
    _Error_Handler(__FILE__, __LINE__);
  }

}

/* TIM1 init function */
static void MX_TIM1_Init(void)
{

  TIM_MasterConfigTypeDef sMasterConfig;
  TIM_OC_InitTypeDef sConfigOC;
  TIM_BreakDeadTimeConfigTypeDef sBreakDeadTimeConfig;

  htim1.Instance = TIM1;
  htim1.Init.Prescaler = 0;
  htim1.Init.CounterMode = TIM_COUNTERMODE_UP;
  htim1.Init.Period = 4200-1;
  htim1.Init.ClockDivision = TIM_CLOCKDIVISION_DIV1;
  htim1.Init.RepetitionCounter = 0;
  if (HAL_TIM_PWM_Init(&htim1) != HAL_OK)
  {
    _Error_Handler(__FILE__, __LINE__);
  }

  sMasterConfig.MasterOutputTrigger = TIM_TRGO_RESET;
  sMasterConfig.MasterSlaveMode = TIM_MASTERSLAVEMODE_DISABLE;
  if (HAL_TIMEx_MasterConfigSynchronization(&htim1, &sMasterConfig) != HAL_OK)
  {
    _Error_Handler(__FILE__, __LINE__);
  }

  sConfigOC.OCMode = TIM_OCMODE_PWM1;
  sConfigOC.Pulse = 1;
  sConfigOC.OCPolarity = TIM_OCPOLARITY_HIGH;
  sConfigOC.OCNPolarity = TIM_OCNPOLARITY_HIGH;
  sConfigOC.OCFastMode = TIM_OCFAST_DISABLE;
  sConfigOC.OCIdleState = TIM_OCIDLESTATE_RESET;
  sConfigOC.OCNIdleState = TIM_OCNIDLESTATE_RESET;
  if (HAL_TIM_PWM_ConfigChannel(&htim1, &sConfigOC, TIM_CHANNEL_1) != HAL_OK)
  {
    _Error_Handler(__FILE__, __LINE__);
  }

  sConfigOC.Pulse = 2;
  if (HAL_TIM_PWM_ConfigChannel(&htim1, &sConfigOC, TIM_CHANNEL_2) != HAL_OK)
  {
    _Error_Handler(__FILE__, __LINE__);
  }

  sConfigOC.Pulse = 3;
  if (HAL_TIM_PWM_ConfigChannel(&htim1, &sConfigOC, TIM_CHANNEL_3) != HAL_OK)
  {
    _Error_Handler(__FILE__, __LINE__);
  }

  sConfigOC.Pulse = 4;
  if (HAL_TIM_PWM_ConfigChannel(&htim1, &sConfigOC, TIM_CHANNEL_4) != HAL_OK)
  {
    _Error_Handler(__FILE__, __LINE__);
  }

  sBreakDeadTimeConfig.OffStateRunMode = TIM_OSSR_DISABLE;
  sBreakDeadTimeConfig.OffStateIDLEMode = TIM_OSSI_DISABLE;
  sBreakDeadTimeConfig.LockLevel = TIM_LOCKLEVEL_OFF;
  sBreakDeadTimeConfig.DeadTime = 0;
  sBreakDeadTimeConfig.BreakState = TIM_BREAK_DISABLE;
  sBreakDeadTimeConfig.BreakPolarity = TIM_BREAKPOLARITY_HIGH;
  sBreakDeadTimeConfig.AutomaticOutput = TIM_AUTOMATICOUTPUT_DISABLE;
  if (HAL_TIMEx_ConfigBreakDeadTime(&htim1, &sBreakDeadTimeConfig) != HAL_OK)
  {
    _Error_Handler(__FILE__, __LINE__);
  }

  HAL_TIM_MspPostInit(&htim1);

}

/* TIM3 init function */
static void MX_TIM3_Init(void)
{

  TIM_Encoder_InitTypeDef sConfig;
  TIM_MasterConfigTypeDef sMasterConfig;

  htim3.Instance = TIM3;
  htim3.Init.Prescaler = 0;
  htim3.Init.CounterMode = TIM_COUNTERMODE_UP;
  htim3.Init.Period = 60000;
  htim3.Init.ClockDivision = TIM_CLOCKDIVISION_DIV1;
  sConfig.EncoderMode = TIM_ENCODERMODE_TI12;
  sConfig.IC1Polarity = TIM_ICPOLARITY_RISING;
  sConfig.IC1Selection = TIM_ICSELECTION_DIRECTTI;
  sConfig.IC1Prescaler = TIM_ICPSC_DIV1;
  sConfig.IC1Filter = 0;
  sConfig.IC2Polarity = TIM_ICPOLARITY_RISING;
  sConfig.IC2Selection = TIM_ICSELECTION_DIRECTTI;
  sConfig.IC2Prescaler = TIM_ICPSC_DIV1;
  sConfig.IC2Filter = 0;
  if (HAL_TIM_Encoder_Init(&htim3, &sConfig) != HAL_OK)
  {
    _Error_Handler(__FILE__, __LINE__);
  }

  sMasterConfig.MasterOutputTrigger = TIM_TRGO_RESET;
  sMasterConfig.MasterSlaveMode = TIM_MASTERSLAVEMODE_DISABLE;
  if (HAL_TIMEx_MasterConfigSynchronization(&htim3, &sMasterConfig) != HAL_OK)
  {
    _Error_Handler(__FILE__, __LINE__);
  }

}

/* TIM4 init function */
static void MX_TIM4_Init(void)
{

  TIM_Encoder_InitTypeDef sConfig;
  TIM_MasterConfigTypeDef sMasterConfig;

  htim4.Instance = TIM4;
  htim4.Init.Prescaler = 0;
  htim4.Init.CounterMode = TIM_COUNTERMODE_UP;
  htim4.Init.Period = 60000;
  htim4.Init.ClockDivision = TIM_CLOCKDIVISION_DIV1;
  sConfig.EncoderMode = TIM_ENCODERMODE_TI12;
  sConfig.IC1Polarity = TIM_ICPOLARITY_RISING;
  sConfig.IC1Selection = TIM_ICSELECTION_DIRECTTI;
  sConfig.IC1Prescaler = TIM_ICPSC_DIV1;
  sConfig.IC1Filter = 0;
  sConfig.IC2Polarity = TIM_ICPOLARITY_RISING;
  sConfig.IC2Selection = TIM_ICSELECTION_DIRECTTI;
  sConfig.IC2Prescaler = TIM_ICPSC_DIV1;
  sConfig.IC2Filter = 0;
  if (HAL_TIM_Encoder_Init(&htim4, &sConfig) != HAL_OK)
  {
    _Error_Handler(__FILE__, __LINE__);
  }

  sMasterConfig.MasterOutputTrigger = TIM_TRGO_RESET;
  sMasterConfig.MasterSlaveMode = TIM_MASTERSLAVEMODE_DISABLE;
  if (HAL_TIMEx_MasterConfigSynchronization(&htim4, &sMasterConfig) != HAL_OK)
  {
    _Error_Handler(__FILE__, __LINE__);
  }

}

/* TIM7 init function */
static void MX_TIM7_Init(void)
{

  TIM_MasterConfigTypeDef sMasterConfig;

  htim7.Instance = TIM7;
  htim7.Init.Prescaler = 840 - 1;
  htim7.Init.CounterMode = TIM_COUNTERMODE_UP;
  htim7.Init.Period = 50 - 1;
  if (HAL_TIM_Base_Init(&htim7) != HAL_OK)
  {
    _Error_Handler(__FILE__, __LINE__);
  }

  sMasterConfig.MasterOutputTrigger = TIM_TRGO_RESET;
  sMasterConfig.MasterSlaveMode = TIM_MASTERSLAVEMODE_DISABLE;
  if (HAL_TIMEx_MasterConfigSynchronization(&htim7, &sMasterConfig) != HAL_OK)
  {
    _Error_Handler(__FILE__, __LINE__);
  }

}

/* TIM8 init function */
static void MX_TIM8_Init(void)
{

  TIM_Encoder_InitTypeDef sConfig;
  TIM_MasterConfigTypeDef sMasterConfig;

  htim8.Instance = TIM8;
  htim8.Init.Prescaler = 0;
  htim8.Init.CounterMode = TIM_COUNTERMODE_UP;
  htim8.Init.Period = 60000;
  htim8.Init.ClockDivision = TIM_CLOCKDIVISION_DIV1;
  htim8.Init.RepetitionCounter = 0;
  sConfig.EncoderMode = TIM_ENCODERMODE_TI12;
  sConfig.IC1Polarity = TIM_ICPOLARITY_RISING;
  sConfig.IC1Selection = TIM_ICSELECTION_DIRECTTI;
  sConfig.IC1Prescaler = TIM_ICPSC_DIV1;
  sConfig.IC1Filter = 0;
  sConfig.IC2Polarity = TIM_ICPOLARITY_RISING;
  sConfig.IC2Selection = TIM_ICSELECTION_DIRECTTI;
  sConfig.IC2Prescaler = TIM_ICPSC_DIV1;
  sConfig.IC2Filter = 0;
  if (HAL_TIM_Encoder_Init(&htim8, &sConfig) != HAL_OK)
  {
    _Error_Handler(__FILE__, __LINE__);
  }

  sMasterConfig.MasterOutputTrigger = TIM_TRGO_RESET;
  sMasterConfig.MasterSlaveMode = TIM_MASTERSLAVEMODE_DISABLE;
  if (HAL_TIMEx_MasterConfigSynchronization(&htim8, &sMasterConfig) != HAL_OK)
  {
    _Error_Handler(__FILE__, __LINE__);
  }

}

/* UART4 init function */
static void MX_UART4_Init(void)
{

  huart4.Instance = UART4;
  huart4.Init.BaudRate = 115200;
  huart4.Init.WordLength = UART_WORDLENGTH_8B;
  huart4.Init.StopBits = UART_STOPBITS_1;
  huart4.Init.Parity = UART_PARITY_NONE;
  huart4.Init.Mode = UART_MODE_TX_RX;
  huart4.Init.HwFlowCtl = UART_HWCONTROL_NONE;
  huart4.Init.OverSampling = UART_OVERSAMPLING_16;
  if (HAL_UART_Init(&huart4) != HAL_OK)
  {
    _Error_Handler(__FILE__, __LINE__);
  }

}

/* UART5 init function */
static void MX_UART5_Init(void)
{

  huart5.Instance = UART5;
  huart5.Init.BaudRate = 38400;
  huart5.Init.WordLength = UART_WORDLENGTH_8B;
  huart5.Init.StopBits = UART_STOPBITS_1;
  huart5.Init.Parity = UART_PARITY_NONE;
  huart5.Init.Mode = UART_MODE_TX_RX;
  huart5.Init.HwFlowCtl = UART_HWCONTROL_NONE;
  huart5.Init.OverSampling = UART_OVERSAMPLING_16;
  if (HAL_UART_Init(&huart5) != HAL_OK)
  {
    _Error_Handler(__FILE__, __LINE__);
  }

}

static void MX_DMA_Init(void)
{
  /* DMA controller clock enable */
  __HAL_RCC_DMA1_CLK_ENABLE();
  __HAL_RCC_DMA2_CLK_ENABLE();

  /* DMA interrupt init */
  /* DMA1_Stream0_IRQn interrupt configuration */
  HAL_NVIC_SetPriority(DMA1_Stream0_IRQn, 0, 0);
  HAL_NVIC_EnableIRQ(DMA1_Stream0_IRQn);
  /* DMA1_Stream2_IRQn interrupt configuration */
  HAL_NVIC_SetPriority(DMA1_Stream2_IRQn, 0, 0);
  HAL_NVIC_EnableIRQ(DMA1_Stream2_IRQn);
  /* DMA2_Stream0_IRQn interrupt configuration */
  HAL_NVIC_SetPriority(DMA2_Stream0_IRQn, 0, 0);
  HAL_NVIC_EnableIRQ(DMA2_Stream0_IRQn);

}

/** Configure pins as
        * Analog
        * Input
        * Output
        * EVENT_OUT
        * EXTI
*/
static void MX_GPIO_Init(void)
{

  GPIO_InitTypeDef GPIO_InitStruct;

  /* GPIO Ports Clock Enable */
  __HAL_RCC_GPIOH_CLK_ENABLE();
  __HAL_RCC_GPIOC_CLK_ENABLE();
  __HAL_RCC_GPIOA_CLK_ENABLE();
  __HAL_RCC_GPIOB_CLK_ENABLE();
  __HAL_RCC_GPIOE_CLK_ENABLE();
  __HAL_RCC_GPIOD_CLK_ENABLE();

  /*Configure GPIO pin Output Level */
  HAL_GPIO_WritePin(Relay_Output_GPIO_Port, Relay_Output_Pin, GPIO_PIN_RESET);

  /*Configure GPIO pin Output Level */
  HAL_GPIO_WritePin(GPIOD, Motor1_Pin_Pin|Motor2_Pin_Pin|Motor3_Pin_Pin|Motor4_Pin_Pin, GPIO_PIN_RESET);

  /*Configure GPIO pin : Relay_Output_Pin */
  GPIO_InitStruct.Pin = Relay_Output_Pin;
  GPIO_InitStruct.Mode = GPIO_MODE_OUTPUT_PP;
  GPIO_InitStruct.Pull = GPIO_NOPULL;
  GPIO_InitStruct.Speed = GPIO_SPEED_FREQ_LOW;
  HAL_GPIO_Init(Relay_Output_GPIO_Port, &GPIO_InitStruct);

  /*Configure GPIO pin : DOWN_SWITCH_Pin */
  GPIO_InitStruct.Pin = DOWN_SWITCH_Pin;
  GPIO_InitStruct.Mode = GPIO_MODE_IT_RISING_FALLING;
  GPIO_InitStruct.Pull = GPIO_NOPULL;
  HAL_GPIO_Init(DOWN_SWITCH_GPIO_Port, &GPIO_InitStruct);

  /*Configure GPIO pins : Motor1_Pin_Pin Motor2_Pin_Pin Motor3_Pin_Pin Motor4_Pin_Pin */
  GPIO_InitStruct.Pin = Motor1_Pin_Pin|Motor2_Pin_Pin|Motor3_Pin_Pin|Motor4_Pin_Pin;
  GPIO_InitStruct.Mode = GPIO_MODE_OUTPUT_PP;
  GPIO_InitStruct.Pull = GPIO_NOPULL;
  GPIO_InitStruct.Speed = GPIO_SPEED_FREQ_LOW;
  HAL_GPIO_Init(GPIOD, &GPIO_InitStruct);

  /*Configure GPIO pin : UP_SWITCH_Pin */
  GPIO_InitStruct.Pin = UP_SWITCH_Pin;
  GPIO_InitStruct.Mode = GPIO_MODE_IT_FALLING;
  GPIO_InitStruct.Pull = GPIO_NOPULL;
  HAL_GPIO_Init(UP_SWITCH_GPIO_Port, &GPIO_InitStruct);

  /* EXTI interrupt init*/
  HAL_NVIC_SetPriority(EXTI0_IRQn, 0, 0);
  HAL_NVIC_EnableIRQ(EXTI0_IRQn);

  HAL_NVIC_SetPriority(EXTI9_5_IRQn, 0, 0);
  HAL_NVIC_EnableIRQ(EXTI9_5_IRQn);

}

void _Error_Handler(char *file, int line)
{
  while(1)
  {
  }
}

/************************ (C) COPYRIGHT STMicroelectronics *****END OF FILE****/
